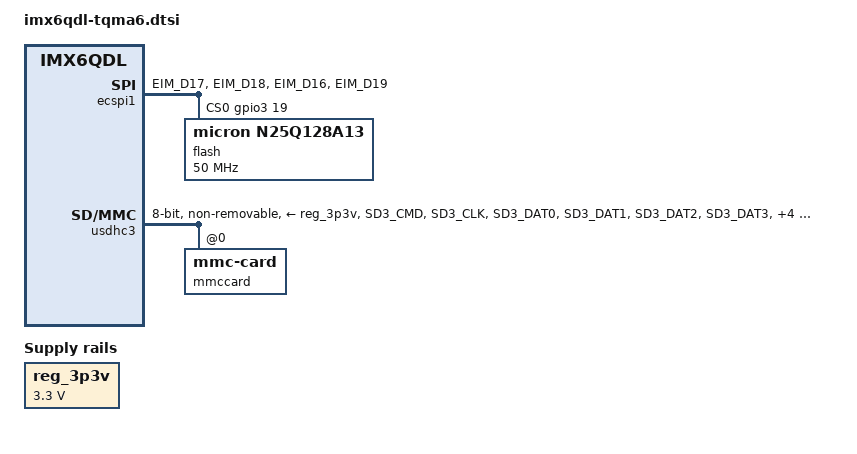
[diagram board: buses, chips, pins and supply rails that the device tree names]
// SPDX-License-Identifier: GPL-2.0+
//
// Copyright (C) 2020 TQ-Systems GmbH

/ {
	aliases {
		mmc0 = &usdhc3;
		/delete-property/ mmc1;
		/delete-property/ mmc2;
	};

	regulators {
		compatible = "simple-bus";
		#address-cells = <1>;
		#size-cells = <0>;

		reg_3p3v: regulator@0 {
			compatible = "regulator-fixed";
			regulator-name = "supply-3p3v";
			reg = <0>;
			regulator-min-microvolt = <3300000>;
			regulator-max-microvolt = <3300000>;
			regulator-always-on;
		};
	};
};

&ecspi1 {
	pinctrl-names = "default";
	pinctrl-0 = <&pinctrl_ecspi1>;
	fsl,spi-num-chipselects = <1>;
	cs-gpios = <&gpio3 19 0>;
	status = "okay";

	flash: m25p80@0 {
		status = "okay";
		compatible = "micron,n25q128a13", "n25q128a13";
		spi-max-frequency = <50000000>;
		reg = <0>;
		#address-cells = <1>;
		#size-cells = <1>;
		m25p,fast-read;
	};
};

&iomuxc {
	tqma6 {
		pinctrl_ecspi1: ecspi1grp {
			fsl,pins = <
				/* HYS, SPEED = MED, 100k up, DSE = 011, SRE_FAST */
				MX6QDL_PAD_EIM_D17__ECSPI1_MISO 0x1b099
				MX6QDL_PAD_EIM_D18__ECSPI1_MOSI 0xb099
				MX6QDL_PAD_EIM_D16__ECSPI1_SCLK 0xb099
				 /* eCSPI1 SS1 */
				MX6QDL_PAD_EIM_D19__GPIO3_IO19 0xb099
			>;
		};

		pinctrl_i2c1_tqma6: i2c1-tqma6grp {
			fsl,pins = <
				MX6QDL_PAD_CSI0_DAT8__I2C1_SDA 0x4001b899
				MX6QDL_PAD_CSI0_DAT9__I2C1_SCL 0x4001b899
			>;
		};

		pinctrl_i2c3_tqma6: i2c3-tqma6grp {
			fsl,pins = <
				MX6QDL_PAD_GPIO_5__I2C3_SCL 0x4001b899
				MX6QDL_PAD_GPIO_6__I2C3_SDA 0x4001b899
			>;
		};

		pinctrl_pmic: pmicgrp {
			fsl,pins = <
				MX6QDL_PAD_NANDF_RB0__GPIO6_IO10 0x1b099 /* PMIC irq */
			>;
		};

		pinctrl_usdhc3: usdhc3grp {
			fsl,pins = <
				MX6QDL_PAD_SD3_CMD__SD3_CMD    0x17059
				MX6QDL_PAD_SD3_CLK__SD3_CLK    0x10059
				MX6QDL_PAD_SD3_DAT0__SD3_DATA0 0x17059
				MX6QDL_PAD_SD3_DAT1__SD3_DATA1 0x17059
				MX6QDL_PAD_SD3_DAT2__SD3_DATA2 0x17059
				MX6QDL_PAD_SD3_DAT3__SD3_DATA3 0x17059
				MX6QDL_PAD_SD3_DAT4__SD3_DATA4 0x17059
				MX6QDL_PAD_SD3_DAT5__SD3_DATA5 0x17059
				MX6QDL_PAD_SD3_DAT6__SD3_DATA6 0x17059
				MX6QDL_PAD_SD3_DAT7__SD3_DATA7 0x17059
			>;
		};
	};
};

&pmic {
		pinctrl-names = "default";
		pinctrl-0 = <&pinctrl_pmic>;
		interrupt-parent = <&gpio6>;
		interrupts = <10 8>;

		regulators {
			reg_vddcore: sw1ab {
				regulator-min-microvolt = <300000>;
				regulator-max-microvolt = <1875000>;
				regulator-always-on;
			};

			reg_vddsoc: sw1c {
				regulator-min-microvolt = <300000>;
				regulator-max-microvolt = <1875000>;
				regulator-always-on;
			};

			reg_gen_3v3: sw2 {
				regulator-min-microvolt = <800000>;
				regulator-max-microvolt = <3300000>;
				regulator-always-on;
			};

			reg_ddr_1v5a: sw3a {
				regulator-min-microvolt = <400000>;
				regulator-max-microvolt = <1975000>;
				regulator-always-on;
			};

			reg_ddr_1v5b: sw3b {
				regulator-min-microvolt = <400000>;
				regulator-max-microvolt = <1975000>;
				regulator-always-on;
			};

			sw4_reg: sw4 {
				regulator-min-microvolt = <800000>;
				regulator-max-microvolt = <3300000>;
				regulator-always-on;
			};

			reg_5v_600mA: swbst {
				regulator-min-microvolt = <5000000>;
				regulator-max-microvolt = <5150000>;
				regulator-always-on;
			};

			reg_snvs_3v: vsnvs {
				regulator-min-microvolt = <1500000>;
				regulator-max-microvolt = <3000000>;
				regulator-always-on;
			};

			reg_vrefddr: vrefddr {
				regulator-boot-on;
				regulator-always-on;
			};

			reg_vgen1_1v5: vgen1 {
				regulator-min-microvolt = <800000>;
				regulator-max-microvolt = <1550000>;
				/* not used */
			};

			reg_vgen2_1v2_eth: vgen2 {
				regulator-min-microvolt = <800000>;
				regulator-max-microvolt = <1550000>;
				regulator-always-on;
			};

			reg_vgen3_2v8: vgen3 {
				regulator-min-microvolt = <1800000>;
				regulator-max-microvolt = <3300000>;
				regulator-always-on;
			};

			reg_vgen4_1v8: vgen4 {
				regulator-min-microvolt = <1800000>;
				regulator-max-microvolt = <3300000>;
				regulator-always-on;
			};

			reg_vgen5_1v8_eth: vgen5 {
				regulator-min-microvolt = <1800000>;
				regulator-max-microvolt = <3300000>;
				regulator-always-on;
			};

			reg_vgen6_3v3: vgen6 {
				regulator-min-microvolt = <1800000>;
				regulator-max-microvolt = <3300000>;
				regulator-always-on;
			};
		};
};

/* eMMC */
&usdhc3 {
	pinctrl-names = "default";
	pinctrl-0 = <&pinctrl_usdhc3>;
	vmmc-supply = <&reg_3p3v>;
	non-removable;
	disable-wp;
	bus-width = <8>;
	#address-cells = <1>;
	#size-cells = <0>;
	status = "okay";

	mmccard: mmccard@0 {
		reg = <0>;
		compatible = "mmc-card";
		broken-hpi;
	};
};
